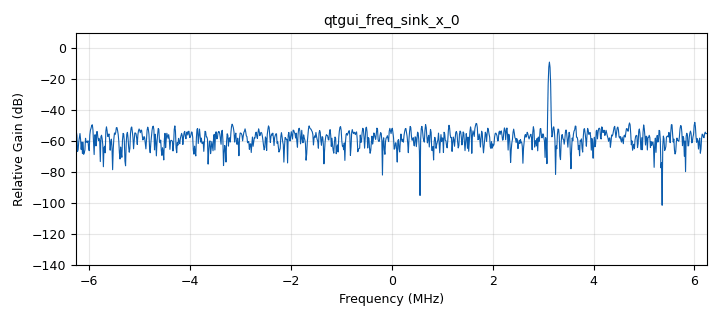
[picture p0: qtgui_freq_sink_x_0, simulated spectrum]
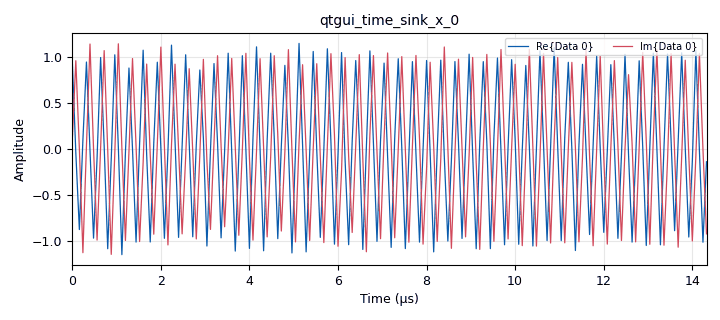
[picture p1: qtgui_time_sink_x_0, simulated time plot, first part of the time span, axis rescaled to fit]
options:
  parameters:
    author: Nicolas_Murillo_William_Moncada
    copyright: UIS
    generate_options: qt_gui
    id: lab1_punto3
    output_language: python
    title: lab1_punto3
  states: {}

blocks:
- name: GTX
  id: variable_qtgui_range
  parameters:
    label: Ganancia_TX
    start: '0'
    step: '1'
    stop: '100'
    value: '50'
  states: {}
- name: 'NO'
  id: variable_qtgui_range
  parameters:
    label: Amplitud_ruido
    start: '0.000001'
    step: '0.000001'
    stop: '0.500'
    value: '0.1'
  states: {}
- name: fc
  id: variable_qtgui_range
  parameters:
    label: Frecuencia_Portadora
    start: 50e6
    step: 1e6
    stop: 2.2e9
    value: 100e6
  states: {}
- name: samp_rate
  id: variable
  parameters:
    value: '12500000'
  states: {}
- name: analog_noise_source_x_0
  id: analog_noise_source_x
  parameters:
    amp: 'NO'
    noise_type: analog.GR_GAUSSIAN
    seed: '0'
    type: complex
  states: {}
- name: analog_sig_source_x_0
  id: analog_sig_source_x
  parameters:
    amp: '1'
    freq: samp_rate/4
    offset: '0'
    phase: '0'
    samp_rate: samp_rate
    type: complex
    waveform: analog.GR_COS_WAVE
  states: {}
- name: blocks_add_xx_0
  id: blocks_add_xx
  parameters:
    type: complex
  states: {}
- name: blocks_throttle_0
  id: blocks_throttle
  parameters:
    samples_per_second: samp_rate
    type: complex
  states: {}
- name: qtgui_freq_sink_x_0
  id: qtgui_freq_sink_x
  parameters:
    bw: samp_rate
    fc: '0'
    fftsize: '1024'
    type: complex
  states: {}
- name: qtgui_time_sink_x_0
  id: qtgui_time_sink_x
  parameters:
    size: '1024'
    srate: samp_rate
    type: complex
  states: {}
- name: uhd_usrp_sink_0
  id: uhd_usrp_sink
  parameters:
    ant0: '"TX/RX"'
    center_freq0: fc
    gain0: GTX
    samp_rate: samp_rate
    sync: pc_clock
    type: fc32
  states: {}

connections:
- [analog_noise_source_x_0, '0', blocks_add_xx_0, '0']
- [analog_sig_source_x_0, '0', blocks_add_xx_0, '1']
- [blocks_add_xx_0, '0', blocks_throttle_0, '0']
- [blocks_throttle_0, '0', qtgui_freq_sink_x_0, '0']
- [blocks_throttle_0, '0', qtgui_time_sink_x_0, '0']
- [blocks_throttle_0, '0', uhd_usrp_sink_0, '0']

metadata:
  file_format: 1
